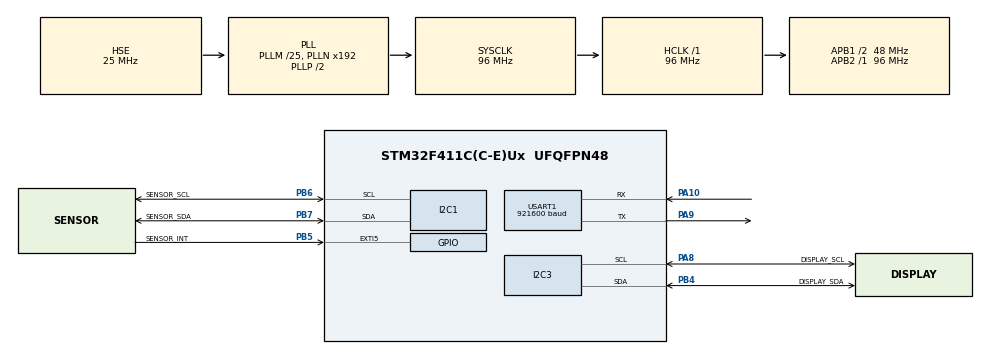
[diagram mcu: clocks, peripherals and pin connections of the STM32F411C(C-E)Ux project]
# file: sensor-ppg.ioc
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Dma.Request0=USART1_TX
Dma.USART1_TX.0.Direction=DMA_MEMORY_TO_PERIPH
Dma.USART1_TX.0.FIFOMode=DMA_FIFOMODE_DISABLE
Dma.USART1_TX.0.Instance=DMA2_Stream7
Dma.USART1_TX.0.MemDataAlignment=DMA_MDATAALIGN_BYTE
Dma.USART1_TX.0.MemInc=DMA_MINC_ENABLE
Dma.USART1_TX.0.Mode=DMA_NORMAL
Dma.USART1_TX.0.PeriphDataAlignment=DMA_PDATAALIGN_BYTE
Dma.USART1_TX.0.PeriphInc=DMA_PINC_DISABLE
Dma.USART1_TX.0.Priority=DMA_PRIORITY_LOW
Mcu.Family=STM32F4
Mcu.Name=STM32F411C(C-E)Ux
Mcu.Package=UFQFPN48
NVIC.DMA2_Stream7_IRQn=true\:0\:0\:false\:false\:true\:false\:true\:true
NVIC.EXTI9_5_IRQn=true\:0\:0\:false\:false\:true\:true\:true\:true
NVIC.PriorityGroup=NVIC_PRIORITYGROUP_4
NVIC.TIM2_IRQn=true\:0\:0\:false\:false\:true\:true\:true\:true
NVIC.USART1_IRQn=true\:0\:0\:false\:false\:true\:true\:true\:true
PA10.Mode=Asynchronous
PA10.Signal=USART1_RX
PA8.GPIO_Label=DISPLAY_SCL
PA8.Mode=I2C
PA8.Signal=I2C3_SCL
PA9.Mode=Asynchronous
PA9.Signal=USART1_TX
PB4.GPIO_Label=DISPLAY_SDA
PB4.Mode=I2C
PB4.Signal=I2C3_SDA
PB5.GPIO_Label=SENSOR_INT
PB5.GPIO_ModeDefaultEXTI=GPIO_MODE_IT_FALLING
PB5.GPIO_PuPd=GPIO_PULLUP
PB5.Signal=GPXTI5
PB6.GPIO_Label=SENSOR_SCL
PB6.Mode=I2C
PB6.Signal=I2C1_SCL
PB7.GPIO_Label=SENSOR_SDA
PB7.Mode=I2C
PB7.Signal=I2C1_SDA
PH0\ -\ OSC_IN.Mode=HSE-External-Oscillator
PH0\ -\ OSC_IN.Signal=RCC_OSC_IN
PH1\ -\ OSC_OUT.Mode=HSE-External-Oscillator
PH1\ -\ OSC_OUT.Signal=RCC_OSC_OUT
ProjectManager.HeapSize=0x200
ProjectManager.StackSize=0x400
ProjectManager.TargetToolchain=CMake
RCC.48MHZClocksFreq_Value=48000000
RCC.AHBFreq_Value=96000000
RCC.APB1CLKDivider=RCC_HCLK_DIV2
RCC.APB1Freq_Value=48000000
RCC.APB1TimFreq_Value=96000000
RCC.APB2Freq_Value=96000000
RCC.APB2TimFreq_Value=96000000
RCC.CortexFreq_Value=96000000
RCC.HCLKFreq_Value=96000000
RCC.HSE_VALUE=25000000
RCC.HSI_VALUE=16000000
RCC.LSE_VALUE=32768
RCC.PLLM=25
RCC.PLLSourceVirtual=RCC_PLLSOURCE_HSE
RCC.SYSCLKFreq_VALUE=96000000
RCC.SYSCLKSource=RCC_SYSCLKSOURCE_PLLCLK
RCC.VCOOutputFreq_Value=192000000
TIM2.Period=99
TIM2.Prescaler=9599
USART1.BaudRate=921600
USART1.VirtualMode=VM_ASYNC
VP_TIM2_VS_ClockSourceINT.Mode=Internal
board=custom

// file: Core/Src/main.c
/* USER CODE BEGIN Header */
/**
  ******************************************************************************
  * @file           : main.c
  * @brief          : Main program body
  ******************************************************************************
  * @attention
  *
  * Copyright (c) 2026 STMicroelectronics.
  * All rights reserved.
  *
  * This software is licensed under terms that can be found in the LICENSE file
  * in the root directory of this software component.
  * If no LICENSE file comes with this software, it is provided AS-IS.
  *
  ******************************************************************************
  */
/* USER CODE END Header */
#include "main.h"

/* USER CODE BEGIN Includes */
#include <stdio.h>

#include "max30102.h"
#include "serial.h"

/* USER CODE END Includes */

I2C_HandleTypeDef hi2c1;
I2C_HandleTypeDef hi2c3;

TIM_HandleTypeDef htim2;

UART_HandleTypeDef huart1;
DMA_HandleTypeDef hdma_usart1_tx;

/* USER CODE BEGIN PV */
static volatile bool sensor_int;
static uint32_t indice; /* nº da amostra a MAX30102_FS_HZ desde o início */
static volatile max30102_amostra_t ultima; /* pra olhar no Live Watch do debugger */

/* USER CODE END PV */

void SystemClock_Config(void);
static void MX_GPIO_Init(void);
static void MX_DMA_Init(void);
static void MX_I2C1_Init(void);
static void MX_I2C3_Init(void);
static void MX_USART1_UART_Init(void);
static void MX_TIM2_Init(void);
/* USER CODE BEGIN PFP */
static void envia_amostras(void);
static void destrava_i2c1(void);

/* USER CODE END PFP */

int main(void)
{

  /* MCU Configuration--------------------------------------------------------*/

  /* Reset of all peripherals, Initializes the Flash interface and the Systick. */
  HAL_Init();

  /* Configure the system clock */
  SystemClock_Config();

  /* Initialize all configured peripherals */
  MX_GPIO_Init();
  MX_DMA_Init();
  MX_I2C1_Init();
  MX_I2C3_Init();
  MX_USART1_UART_Init();
  MX_TIM2_Init();
  /* USER CODE BEGIN 2 */
  serial_init(&huart1);
  destrava_i2c1();
  if (max30102_init(&hi2c1) != HAL_OK)
  {
    static const char erro[] = "# erro: MAX30102 nao respondeu na I2C1\n";
    HAL_UART_Transmit(&huart1, (const uint8_t *)erro, sizeof erro - 1, 100);
    Error_Handler();
  }
  char cabecalho[48];
  int n = snprintf(cabecalho, sizeof cabecalho, "# MAX30102 %u Hz: n,ir,vermelho\n",
                   MAX30102_FS_HZ);
  serial_escreve(cabecalho, (uint32_t)n);
  /* USER CODE END 2 */

  /* Infinite loop */
  while (1)
  {

    /* USER CODE BEGIN 3 */
    /* O pino também é olhado: se uma leitura falhar, o INT fica baixo e não
       vem outra borda de descida. */
    if (sensor_int || HAL_GPIO_ReadPin(SENSOR_INT_GPIO_Port, SENSOR_INT_Pin) == GPIO_PIN_RESET)
    {
      sensor_int = false;
      envia_amostras();
    }
    serial_envia();
  }
  /* USER CODE END 3 */
}

void SystemClock_Config(void)
{
  RCC_OscInitTypeDef RCC_OscInitStruct = {0};
  RCC_ClkInitTypeDef RCC_ClkInitStruct = {0};

  /** Configure the main internal regulator output voltage
  */
  __HAL_RCC_PWR_CLK_ENABLE();
  __HAL_PWR_VOLTAGESCALING_CONFIG(PWR_REGULATOR_VOLTAGE_SCALE1);

  /** Initializes the RCC Oscillators according to the specified parameters
  * in the RCC_OscInitTypeDef structure.
  */
  RCC_OscInitStruct.OscillatorType = RCC_OSCILLATORTYPE_HSE;
  RCC_OscInitStruct.HSEState = RCC_HSE_ON;
  RCC_OscInitStruct.PLL.PLLState = RCC_PLL_ON;
  RCC_OscInitStruct.PLL.PLLSource = RCC_PLLSOURCE_HSE;
  RCC_OscInitStruct.PLL.PLLM = 25;
  RCC_OscInitStruct.PLL.PLLN = 192;
  RCC_OscInitStruct.PLL.PLLP = RCC_PLLP_DIV2;
  RCC_OscInitStruct.PLL.PLLQ = 4;
  if (HAL_RCC_OscConfig(&RCC_OscInitStruct) != HAL_OK)
  {
    Error_Handler();
  }

  /** Initializes the CPU, AHB and APB buses clocks
  */
  RCC_ClkInitStruct.ClockType = RCC_CLOCKTYPE_HCLK|RCC_CLOCKTYPE_SYSCLK
                              |RCC_CLOCKTYPE_PCLK1|RCC_CLOCKTYPE_PCLK2;
  RCC_ClkInitStruct.SYSCLKSource = RCC_SYSCLKSOURCE_PLLCLK;
  RCC_ClkInitStruct.AHBCLKDivider = RCC_SYSCLK_DIV1;
  RCC_ClkInitStruct.APB1CLKDivider = RCC_HCLK_DIV2;
  RCC_ClkInitStruct.APB2CLKDivider = RCC_HCLK_DIV1;

  if (HAL_RCC_ClockConfig(&RCC_ClkInitStruct, FLASH_LATENCY_3) != HAL_OK)
  {
    Error_Handler();
  }
}

static void MX_I2C1_Init(void)
{

  hi2c1.Instance = I2C1;
  hi2c1.Init.ClockSpeed = 100000;
  hi2c1.Init.DutyCycle = I2C_DUTYCYCLE_2;
  hi2c1.Init.OwnAddress1 = 0;
  hi2c1.Init.AddressingMode = I2C_ADDRESSINGMODE_7BIT;
  hi2c1.Init.DualAddressMode = I2C_DUALADDRESS_DISABLE;
  hi2c1.Init.OwnAddress2 = 0;
  hi2c1.Init.GeneralCallMode = I2C_GENERALCALL_DISABLE;
  hi2c1.Init.NoStretchMode = I2C_NOSTRETCH_DISABLE;
  if (HAL_I2C_Init(&hi2c1) != HAL_OK)
  {
    Error_Handler();
  }

}

static void MX_I2C3_Init(void)
{

  hi2c3.Instance = I2C3;
  hi2c3.Init.ClockSpeed = 100000;
  hi2c3.Init.DutyCycle = I2C_DUTYCYCLE_2;
  hi2c3.Init.OwnAddress1 = 0;
  hi2c3.Init.AddressingMode = I2C_ADDRESSINGMODE_7BIT;
  hi2c3.Init.DualAddressMode = I2C_DUALADDRESS_DISABLE;
  hi2c3.Init.OwnAddress2 = 0;
  hi2c3.Init.GeneralCallMode = I2C_GENERALCALL_DISABLE;
  hi2c3.Init.NoStretchMode = I2C_NOSTRETCH_DISABLE;
  if (HAL_I2C_Init(&hi2c3) != HAL_OK)
  {
    Error_Handler();
  }

}

static void MX_TIM2_Init(void)
{

  TIM_ClockConfigTypeDef sClockSourceConfig = {0};
  TIM_MasterConfigTypeDef sMasterConfig = {0};

  htim2.Instance = TIM2;
  htim2.Init.Prescaler = 9599;
  htim2.Init.CounterMode = TIM_COUNTERMODE_UP;
  htim2.Init.Period = 99;
  htim2.Init.ClockDivision = TIM_CLOCKDIVISION_DIV1;
  htim2.Init.AutoReloadPreload = TIM_AUTORELOAD_PRELOAD_DISABLE;
  if (HAL_TIM_Base_Init(&htim2) != HAL_OK)
  {
    Error_Handler();
  }
  sClockSourceConfig.ClockSource = TIM_CLOCKSOURCE_INTERNAL;
  if (HAL_TIM_ConfigClockSource(&htim2, &sClockSourceConfig) != HAL_OK)
  {
    Error_Handler();
  }
  sMasterConfig.MasterOutputTrigger = TIM_TRGO_RESET;
  sMasterConfig.MasterSlaveMode = TIM_MASTERSLAVEMODE_DISABLE;
  if (HAL_TIMEx_MasterConfigSynchronization(&htim2, &sMasterConfig) != HAL_OK)
  {
    Error_Handler();
  }

}

static void MX_USART1_UART_Init(void)
{

  huart1.Instance = USART1;
  huart1.Init.BaudRate = 921600;
  huart1.Init.WordLength = UART_WORDLENGTH_8B;
  huart1.Init.StopBits = UART_STOPBITS_1;
  huart1.Init.Parity = UART_PARITY_NONE;
  huart1.Init.Mode = UART_MODE_TX_RX;
  huart1.Init.HwFlowCtl = UART_HWCONTROL_NONE;
  huart1.Init.OverSampling = UART_OVERSAMPLING_16;
  if (HAL_UART_Init(&huart1) != HAL_OK)
  {
    Error_Handler();
  }

}

static void MX_DMA_Init(void)
{

  /* DMA controller clock enable */
  __HAL_RCC_DMA2_CLK_ENABLE();

  /* DMA interrupt init */
  /* DMA2_Stream7_IRQn interrupt configuration */
  HAL_NVIC_SetPriority(DMA2_Stream7_IRQn, 0, 0);
  HAL_NVIC_EnableIRQ(DMA2_Stream7_IRQn);

}

static void MX_GPIO_Init(void)
{
  GPIO_InitTypeDef GPIO_InitStruct = {0};

  /* GPIO Ports Clock Enable */
  __HAL_RCC_GPIOH_CLK_ENABLE();
  __HAL_RCC_GPIOA_CLK_ENABLE();
  __HAL_RCC_GPIOB_CLK_ENABLE();

  /*Configure GPIO pin : SENSOR_INT_Pin */
  GPIO_InitStruct.Pin = SENSOR_INT_Pin;
  GPIO_InitStruct.Mode = GPIO_MODE_IT_FALLING;
  GPIO_InitStruct.Pull = GPIO_PULLUP;
  HAL_GPIO_Init(SENSOR_INT_GPIO_Port, &GPIO_InitStruct);

  /* EXTI interrupt init*/
  HAL_NVIC_SetPriority(EXTI9_5_IRQn, 0, 0);
  HAL_NVIC_EnableIRQ(EXTI9_5_IRQn);

}

/* USER CODE BEGIN 4 */
void HAL_GPIO_EXTI_Callback(uint16_t GPIO_Pin)
{
  if (GPIO_Pin == SENSOR_INT_Pin)
  {
    sensor_int = true;
  }
}

/* Se a placa resetar no meio de uma leitura, o sensor fica segurando o SDA em
   0 esperando o resto do byte, e a I2C1 acha o barramento ocupado. Até 9
   pulsos no SCL terminam o byte; depois um STOP solta o barramento. */
static void destrava_i2c1(void)
{
  GPIO_InitTypeDef gpio = {0};

  HAL_I2C_DeInit(&hi2c1);
  gpio.Pin = SENSOR_SCL_Pin | SENSOR_SDA_Pin;
  gpio.Mode = GPIO_MODE_OUTPUT_OD;
  gpio.Pull = GPIO_NOPULL;
  gpio.Speed = GPIO_SPEED_FREQ_LOW;
  HAL_GPIO_WritePin(SENSOR_SCL_GPIO_Port, SENSOR_SCL_Pin | SENSOR_SDA_Pin, GPIO_PIN_SET);
  HAL_GPIO_Init(SENSOR_SCL_GPIO_Port, &gpio);
  HAL_Delay(1);

  for (int i = 0; i < 9 && HAL_GPIO_ReadPin(SENSOR_SDA_GPIO_Port, SENSOR_SDA_Pin) == GPIO_PIN_RESET; i++)
  {
    HAL_GPIO_WritePin(SENSOR_SCL_GPIO_Port, SENSOR_SCL_Pin, GPIO_PIN_RESET);
    HAL_Delay(1);
    HAL_GPIO_WritePin(SENSOR_SCL_GPIO_Port, SENSOR_SCL_Pin, GPIO_PIN_SET);
    HAL_Delay(1);
  }

  /* STOP: SDA sobe com o SCL alto. */
  HAL_GPIO_WritePin(SENSOR_SCL_GPIO_Port, SENSOR_SCL_Pin, GPIO_PIN_RESET);
  HAL_GPIO_WritePin(SENSOR_SDA_GPIO_Port, SENSOR_SDA_Pin, GPIO_PIN_RESET);
  HAL_Delay(1);
  HAL_GPIO_WritePin(SENSOR_SCL_GPIO_Port, SENSOR_SCL_Pin, GPIO_PIN_SET);
  HAL_Delay(1);
  HAL_GPIO_WritePin(SENSOR_SDA_GPIO_Port, SENSOR_SDA_Pin, GPIO_PIN_SET);
  HAL_Delay(1);

  MX_I2C1_Init();
}

/* Uma linha "n,ir,vermelho" por amostra. Amostra perdida vira salto no n. */
static void envia_amostras(void)
{
  static max30102_amostra_t amostras[MAX30102_FIFO_TAM];
  uint32_t n;
  uint32_t perdidas;
  char linha[32];

  if (max30102_le_fifo(amostras, &n, &perdidas) != HAL_OK)
  {
    return;
  }
  if (perdidas > 0)
  {
    int tam = snprintf(linha, sizeof linha, "# perdidas: %lu\n", (unsigned long)perdidas);
    serial_escreve(linha, (uint32_t)tam);
    indice += perdidas;
  }
  for (uint32_t i = 0; i < n; i++)
  {
    int tam = snprintf(linha, sizeof linha, "%lu,%lu,%lu\n", (unsigned long)indice,
                       (unsigned long)amostras[i].ir, (unsigned long)amostras[i].vermelho);
    serial_escreve(linha, (uint32_t)tam);
    indice++;
  }
  if (n > 0)
  {
    ultima.ir = amostras[n - 1].ir;
    ultima.vermelho = amostras[n - 1].vermelho;
  }
}

/* USER CODE END 4 */

void Error_Handler(void)
{
  __disable_irq();
  while (1)
  {
  }
}
